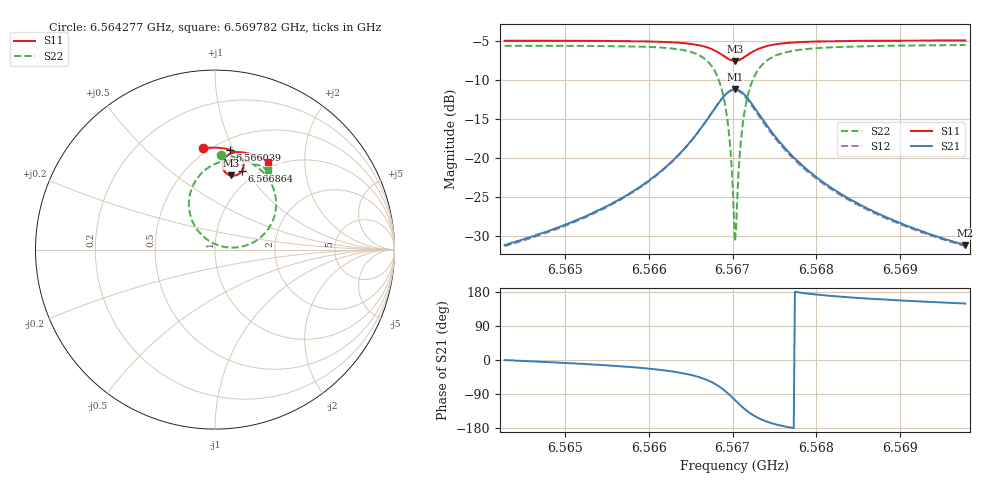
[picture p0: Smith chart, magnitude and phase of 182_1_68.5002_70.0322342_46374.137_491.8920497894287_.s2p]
#  HZ  S  RI  R  50.00
! Rohde & Schwarz Vector Network Analyzer
! Rohde-Schwarz,ZNB20-2Port,1311601062101988,3.16
! Created: UTC 3/20/2024, 4:56:45 PM
! freq[Hz]  re:S11  im:S11  re:S21  im:S21  re:S12  im:S12  re:S22  im:S22
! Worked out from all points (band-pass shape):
!   401 points, 6.564277 GHz to 6.569782 GHz, reference 50 ohm
!   highest |S21| = -11.15 dB at 6.56703 GHz (marker M1); lowest = -31.2 dB at 6.569782 GHz (marker M2)
!   |S21| within 3 dB of the highest: 6.566754 GHz to 6.567304 GHz (550.1 kHz wide, 0.00838 % of centre)
!   lowest |S11| = -7.5 dB at 6.56703 GHz (marker M3), VSWR 2.46, Z = 41 + j41.2 ohm
!   |S11| at or under -10 dB: nowhere
!   |S22| runs from -30.7 to -5.5 dB; largest |S21 - S12| = 0.013
!   S11 on the Smith chart (normalised r, x): 6.564277 GHz: 0.46, +0.77; 6.566039 GHz: 0.60, +0.97; 6.566864 GHz: 0.86, +0.96; 6.569782 GHz: 0.92, +1.33
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6.5642769e9  -0.0686 0.565  0.0277 -0.000167  0.0272 -0.000523  0.0318 0.5261
6.565199e9  0.00664 0.568  0.0406 -0.00738  0.0401 -0.00777  0.1186 0.5134
6.5660386e9  0.0844 0.5554  0.0683 -0.0297  0.067 -0.0307  0.2262 0.4659
6.5661212e9  0.0932 0.5524  0.0729 -0.0349  0.0716 -0.0357  0.2402 0.4557
6.566424e9  0.1278 0.5334  0.0936 -0.0669  0.092 -0.0682  0.299 0.3924
6.5666442e9  0.1531 0.5025  0.1073 -0.1207  0.1048 -0.1231  0.3383 0.2883
6.5667681e9  0.1599 0.4716  0.0998 -0.1747  0.0953 -0.1781  0.3303 0.1851
6.5668644e9  0.1511 0.4404  0.0672 -0.2281  0.0595 -0.2311  0.272 0.0851
6.566947e9  0.1258 0.4172  0.00691 -0.2652  -0.00391 -0.2655  0.1616 0.0194
6.5669745e9  0.1139 0.4131  -0.0193 -0.2711  -0.0309 -0.2692  0.1139 0.0115
6.5670158e9  0.0941 0.4117  -0.0614 -0.2697  -0.0731 -0.2648  0.0393 0.0177
6.5670296e9  0.0876 0.4129  -0.0754 -0.2665  -0.0867 -0.2606  0.015 0.0251
6.5670433e9  0.0811 0.4147  -0.089 -0.262  -0.0999 -0.255  -0.00831 0.0348
6.5670571e9  0.075 0.4172  -0.1017 -0.256  -0.1122 -0.2481  -0.0303 0.0468
6.5670984e9  0.0589 0.4286  -0.1354 -0.2318  -0.1437 -0.2219  -0.0856 0.0937
6.5671397e9  0.0481 0.4434  -0.1595 -0.2014  -0.1649 -0.1905  -0.1226 0.1501
6.5671947e9  0.0417 0.4649  -0.1761 -0.1592  -0.1782 -0.1483  -0.1442 0.2262
6.5672635e9  0.0439 0.4888  -0.1786 -0.1124  -0.1777 -0.1031  -0.1397 0.3077
6.5675113e9  0.0822 0.5328  -0.1352 -0.0248  -0.1323 -0.021  -0.0415 0.4537
6.5679517e9  0.1428 0.5429  -0.0788 0.00845  -0.077 0.00961  0.0879 0.4993
6.5688739e9  0.2281 0.5217  -0.0381 0.0149  -0.0373 0.0151  0.2178 0.4809
6.5697823e9  0.2949 0.489  -0.0236 0.0143  -0.0232 0.0143  0.2967 0.4438
